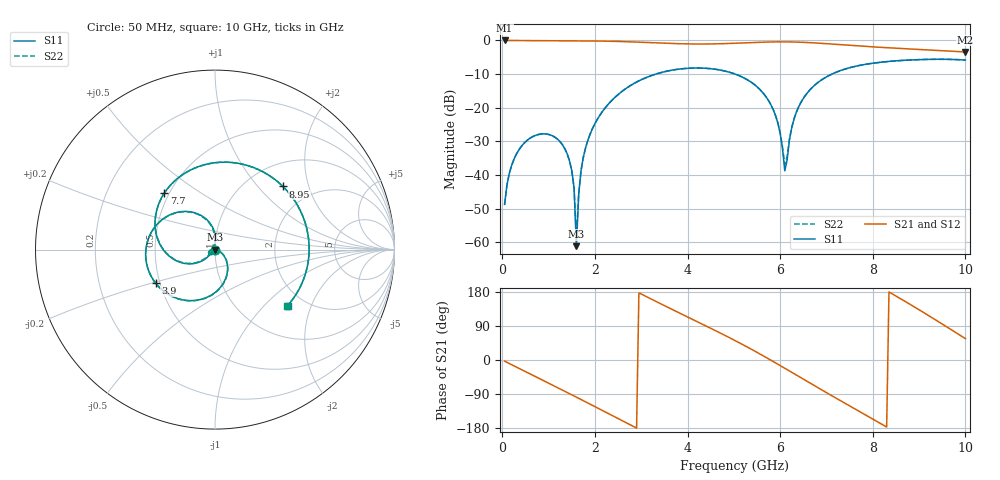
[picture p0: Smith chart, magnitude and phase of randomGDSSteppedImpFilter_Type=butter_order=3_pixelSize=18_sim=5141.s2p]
! freq	dB(S11)	phase(S11)	dB(S12)	phase(S12)
!  dB(S21)	phase(S21)	dB(S22)	phase(S22)
!S-par simulation data
#  GHz  S  DB  R 50
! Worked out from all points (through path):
!   200 points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, 50 MHz to 10 GHz, reference 50 ohm
!   highest |S21| = -0.01 dB at 50 MHz (marker M1); lowest = -3.4 dB at 10 GHz (marker M2)
!   group delay of S21, straight-line fit = 183 ps
!   lowest |S11| = -61.2 dB at 1.6 GHz (marker M3), VSWR 1.00, Z = 49.9 + j0.0145 ohm
!   |S11| at or under -10 dB: start of sweep to 3.318 GHz; 5.026 GHz to 7.119 GHz (2.093 GHz wide, 34.5 % of centre)
!   |S22| runs from -58.9 to -5.6 dB; largest |S21 - S12| = 0
!   S11 on the Smith chart (normalised r, x): 50 MHz: 1.00, -0.01; 3.9 GHz: 0.47, -0.21; 7.7 GHz: 0.47, +0.36; 8.95 GHz: 1.44, +1.38; 10 GHz: 1.63, -1.38
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0.05  -48.78 -85.0  -0.01 -3.1  -0.01 -3.1  -48.76 -85.1
0.15  -39.64 -96.5  -0.02 -9.3  -0.02 -9.3  -39.65 -96.5
0.4  -31.72 -113.9  -0.04 -24.5  -0.04 -24.5  -31.72 -114.0
1.1  -28.49 -158.1  -0.09 -67.2  -0.09 -67.2  -28.49 -158.7
1.5  -38.70 177.1  -0.11 -91.9  -0.11 -91.9  -38.70 173.9
1.55  -43.81 174.0  -0.11 -94.9  -0.11 -94.9  -43.80 167.7
1.6  -61.20 170.4  -0.11 -98.0  -0.11 -98.0  -58.87 127.0
1.65  -45.80 -12.1  -0.12 -101.2  -0.12 -101.2  -45.65 -3.5
1.75  -34.73 -18.3  -0.13 -107.4  -0.13 -107.4  -34.71 -15.7
2.3  -18.79 -52.8  -0.23 -141.9  -0.23 -141.9  -18.78 -52.1
3.4  -9.67 -121.0  -0.78 149.6  -0.78 149.6  -9.67 -120.6
3.9  -8.40 -150.7  -1.00 119.5  -1.00 119.5  -8.40 -150.3
5.05  -10.12 140.5  -0.82 49.8  -0.82 49.8  -10.11 141.1
5.8  -19.13 93.6  -0.46 -0.5  -0.46 -0.5  -19.11 95.3
6  -27.61 88.1  -0.42 -14.6  -0.42 -14.6  -27.43 92.4
6.1  -38.78 133.8  -0.43 -21.7  -0.43 -21.7  -36.89 138.4
6.3  -23.37 -135.5  -0.47 -36.1  -0.47 -36.1  -23.31 -138.1
6.7  -13.89 -158.9  -0.70 -64.9  -0.70 -64.9  -13.89 -159.7
7.7  -7.47 131.9  -1.64 -135.0  -1.64 -135.0  -7.47 131.6
8.35  -6.24 86.4  -2.20 179.6  -2.20 179.6  -6.24 86.1
8.95  -5.73 42.9  -2.65 136.2  -2.65 136.2  -5.73 42.7
10  -5.83 -37.7  -3.43 56.4  -3.43 56.4  -5.84 -37.9
